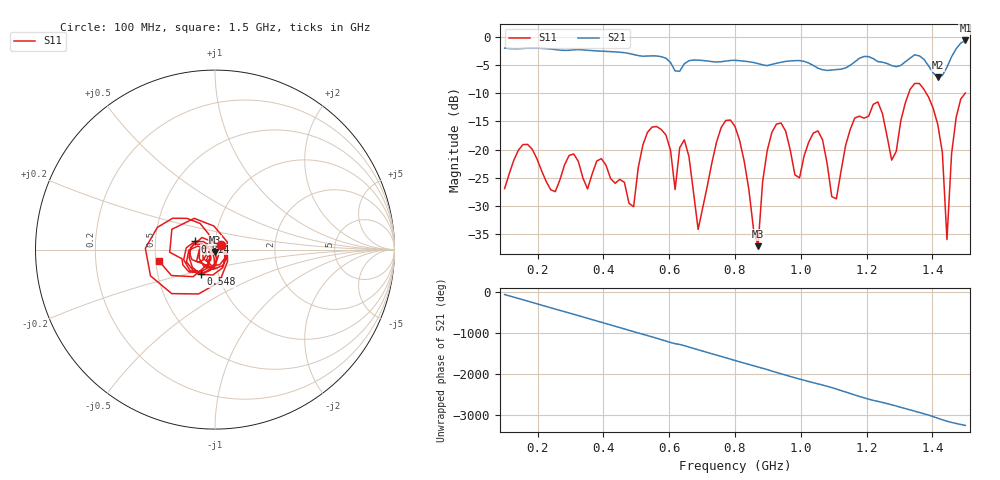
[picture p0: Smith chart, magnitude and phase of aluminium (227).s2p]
! NanoVNA-App
! Date: 2025-09-25 14:57:03
! Start: 100MHz Stop: 1,5GHz Points: 101
! S-Parameter data: F S11 S21 S12 S22
# Hz S RI R 50
!  Frequency  S11_Real  S11_Imag  S21_Real  S21_Imag  S12_Real  S12_Imag  S22_Real  S22_Imag
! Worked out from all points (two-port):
!   101 points, 100 MHz to 1.5 GHz, reference 50 ohm
!   highest |S21| = -0.56 dB at 1.5 GHz (marker M1); lowest = -7.2 dB at 1.416 GHz (marker M2)
!   |S21| within 3 dB of the highest: start of sweep to 581.5 MHz; 1.457 GHz to end of sweep (the widest 2 of 4)
!   lowest |S11| = -37.2 dB at 870 MHz (marker M3), VSWR 1.03, Z = 49.8 - j1.36 ohm
!   |S11| at or under -10 dB: start of sweep to 1.328 GHz; 1.381 GHz to 1.499 GHz (117.5 MHz wide, 8.16 % of centre)
!   S12 and S22 are empty: the file has one direction only
!   S11 on the Smith chart (normalised r, x): 100 MHz: 1.07, +0.06; 548 MHz: 0.82, -0.23; 814 MHz: 0.80, +0.07; 1.5 GHz: 0.52, -0.07
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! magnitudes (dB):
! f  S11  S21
! 100 MHz  -27.0  -1.9
! 338 MHz  -25.1  -2.2
! 492 MHz  -30.2  -3.1
! 548 MHz  -16.0  -3.3
! 576 MHz  -16.4  -3.5
! 618 MHz  -27.1  -6.0
! 646 MHz  -18.3  -4.7
! 688 MHz  -34.2  -4.1
! 800 MHz  -15.9  -4.1
! 814 MHz  -18.4  -4.2
! 870 MHz  -37.2  -4.7
! 912 MHz  -17.0  -4.8
! 996 MHz  -25.1  -4.1
! 1.038 GHz  -17.1  -5.0
! 1.108 GHz  -28.8  -5.7
! 1.22 GHz  -11.9  -3.8
! 1.276 GHz  -21.9  -5.0
! 1.346 GHz  -8.2  -3.1
! 1.416 GHz  -15.5  -7.2
! 1.444 GHz  -36.0  -5.3
! 1.458 GHz  -20.8  -3.5
! 1.5 GHz  -9.9  -0.6
